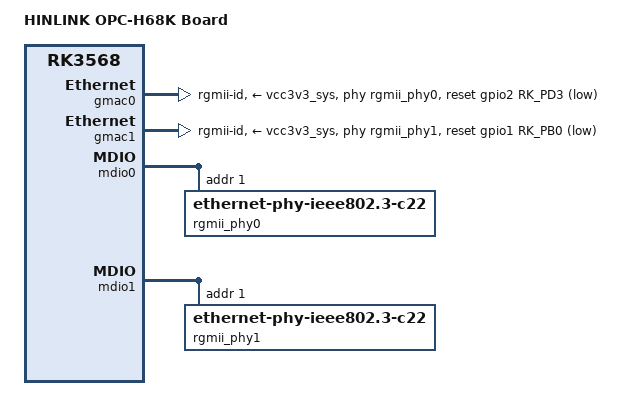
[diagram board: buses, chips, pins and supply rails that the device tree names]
// SPDX-License-Identifier: (GPL-2.0+ OR MIT)
// Copyright (c) 2022 AmadeusGhost <amadeus@jmu.edu.cn>

/dts-v1/;

#include "rk3568-hinlink-opc.dtsi"

/ {
	model = "HINLINK OPC-H68K Board";
	compatible = "hinlink,opc-h68k", "rockchip,rk3568";

	aliases {
		ethernet0 = &gmac0;
		ethernet1 = &gmac1;
	};
};

&gmac0 {
	assigned-clocks = <&cru SCLK_GMAC0_RX_TX>, <&cru SCLK_GMAC0>;
	assigned-clock-parents = <&cru SCLK_GMAC0_RGMII_SPEED>;
	assigned-clock-rates = <0>, <125000000>;
	clock_in_out = "output";
	phy-handle = <&rgmii_phy0>;
	phy-mode = "rgmii-id";
	phy-supply = <&vcc3v3_sys>;
	pinctrl-names = "default";
	pinctrl-0 = <&gmac0_miim
		     &gmac0_tx_bus2
		     &gmac0_rx_bus2
		     &gmac0_rgmii_clk
		     &gmac0_rgmii_bus>;
	snps,reset-active-low;
	snps,reset-delays-us = <0 20000 100000>;
	snps,reset-gpio = <&gpio2 RK_PD3 GPIO_ACTIVE_LOW>;
	tx_delay = <0x3c>;
	rx_delay = <0x2f>;
	status = "okay";
};

&gmac1 {
	assigned-clocks = <&cru SCLK_GMAC1_RX_TX>, <&cru SCLK_GMAC1>;
	assigned-clock-parents = <&cru SCLK_GMAC1_RGMII_SPEED>;
	assigned-clock-rates = <0>, <125000000>;
	clock_in_out = "output";
	phy-handle = <&rgmii_phy1>;
	phy-mode = "rgmii-id";
	phy-supply = <&vcc3v3_sys>;
	pinctrl-names = "default";
	pinctrl-0 = <&gmac1m1_miim
		     &gmac1m1_tx_bus2
		     &gmac1m1_rx_bus2
		     &gmac1m1_rgmii_clk
		     &gmac1m1_rgmii_bus>;
	snps,reset-active-low;
	snps,reset-delays-us = <0 20000 100000>;
	snps,reset-gpio = <&gpio1 RK_PB0 GPIO_ACTIVE_LOW>;
	tx_delay = <0x4f>;
	rx_delay = <0x26>;
	status = "okay";
};

&mdio0 {
	rgmii_phy0: ethernet-phy@1 {
		compatible = "ethernet-phy-ieee802.3-c22";
		reg = <0x1>;
	};
};

&mdio1 {
	rgmii_phy1: ethernet-phy@1 {
		compatible = "ethernet-phy-ieee802.3-c22";
		reg = <0x1>;
	};
};
